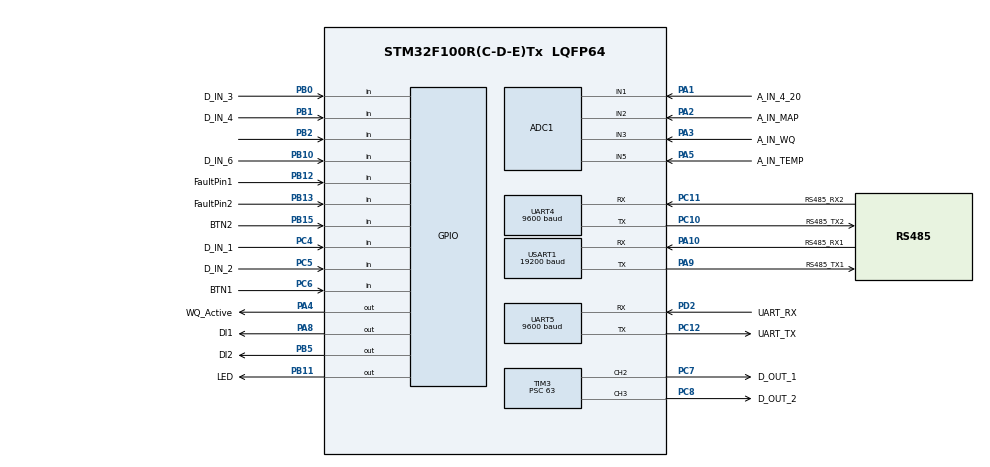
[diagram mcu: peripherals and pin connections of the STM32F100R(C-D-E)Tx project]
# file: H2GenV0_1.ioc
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ADC1.Channel-0\#ChannelRegularConversion=ADC_CHANNEL_1
ADC1.Channel-1\#ChannelRegularConversion=ADC_CHANNEL_2
ADC1.Channel-2\#ChannelRegularConversion=ADC_CHANNEL_3
ADC1.Channel-3\#ChannelRegularConversion=ADC_CHANNEL_5
ADC1.ContinuousConvMode=DISABLE
ADC1.NbrOfConversion=4
ADC1.NbrOfConversionFlag=1
ADC1.Rank-0\#ChannelRegularConversion=1
ADC1.Rank-1\#ChannelRegularConversion=2
ADC1.Rank-2\#ChannelRegularConversion=3
ADC1.Rank-3\#ChannelRegularConversion=4
ADC1.SamplingTime-0\#ChannelRegularConversion=ADC_SAMPLETIME_239CYCLES_5
ADC1.SamplingTime-1\#ChannelRegularConversion=ADC_SAMPLETIME_239CYCLES_5
ADC1.SamplingTime-2\#ChannelRegularConversion=ADC_SAMPLETIME_239CYCLES_5
ADC1.SamplingTime-3\#ChannelRegularConversion=ADC_SAMPLETIME_239CYCLES_5
ADC1.master=1
Dma.ADC1.0.Direction=DMA_PERIPH_TO_MEMORY
Dma.ADC1.0.Instance=DMA1_Channel1
Dma.ADC1.0.MemDataAlignment=DMA_MDATAALIGN_HALFWORD
Dma.ADC1.0.MemInc=DMA_MINC_ENABLE
Dma.ADC1.0.Mode=DMA_NORMAL
Dma.ADC1.0.PeriphDataAlignment=DMA_PDATAALIGN_HALFWORD
Dma.ADC1.0.PeriphInc=DMA_PINC_DISABLE
Dma.ADC1.0.Priority=DMA_PRIORITY_LOW
Dma.Request0=ADC1
Dma.Request1=USART1_RX
Dma.Request2=USART1_TX
Dma.Request3=UART5_RX
Dma.Request4=UART5_TX
Dma.Request5=UART4_RX
Dma.Request6=UART4_TX
Dma.UART4_RX.5.Direction=DMA_PERIPH_TO_MEMORY
Dma.UART4_RX.5.Instance=DMA2_Channel3
Dma.UART4_RX.5.MemDataAlignment=DMA_MDATAALIGN_BYTE
Dma.UART4_RX.5.MemInc=DMA_MINC_ENABLE
Dma.UART4_RX.5.Mode=DMA_NORMAL
Dma.UART4_RX.5.PeriphDataAlignment=DMA_PDATAALIGN_BYTE
Dma.UART4_RX.5.PeriphInc=DMA_PINC_DISABLE
Dma.UART4_RX.5.Priority=DMA_PRIORITY_LOW
Dma.UART4_TX.6.Direction=DMA_MEMORY_TO_PERIPH
Dma.UART4_TX.6.Instance=DMA2_Channel5
Dma.UART4_TX.6.MemDataAlignment=DMA_MDATAALIGN_BYTE
Dma.UART4_TX.6.MemInc=DMA_MINC_ENABLE
Dma.UART4_TX.6.Mode=DMA_NORMAL
Dma.UART4_TX.6.PeriphDataAlignment=DMA_PDATAALIGN_BYTE
Dma.UART4_TX.6.PeriphInc=DMA_PINC_DISABLE
Dma.UART4_TX.6.Priority=DMA_PRIORITY_LOW
Dma.UART5_RX.3.Direction=DMA_PERIPH_TO_MEMORY
Dma.UART5_RX.3.Instance=DMA2_Channel4
Dma.UART5_RX.3.MemDataAlignment=DMA_MDATAALIGN_BYTE
Dma.UART5_RX.3.MemInc=DMA_MINC_ENABLE
Dma.UART5_RX.3.Mode=DMA_NORMAL
Dma.UART5_RX.3.PeriphDataAlignment=DMA_PDATAALIGN_BYTE
Dma.UART5_RX.3.PeriphInc=DMA_PINC_DISABLE
Dma.UART5_RX.3.Priority=DMA_PRIORITY_LOW
Dma.UART5_TX.4.Direction=DMA_MEMORY_TO_PERIPH
Dma.UART5_TX.4.Instance=DMA2_Channel1
Dma.UART5_TX.4.MemDataAlignment=DMA_MDATAALIGN_BYTE
Dma.UART5_TX.4.MemInc=DMA_MINC_ENABLE
Dma.UART5_TX.4.Mode=DMA_NORMAL
Dma.UART5_TX.4.PeriphDataAlignment=DMA_PDATAALIGN_BYTE
Dma.UART5_TX.4.PeriphInc=DMA_PINC_DISABLE
Dma.UART5_TX.4.Priority=DMA_PRIORITY_LOW
Dma.USART1_RX.1.Direction=DMA_PERIPH_TO_MEMORY
Dma.USART1_RX.1.Instance=DMA1_Channel5
Dma.USART1_RX.1.MemDataAlignment=DMA_MDATAALIGN_BYTE
Dma.USART1_RX.1.MemInc=DMA_MINC_ENABLE
Dma.USART1_RX.1.Mode=DMA_NORMAL
Dma.USART1_RX.1.PeriphDataAlignment=DMA_PDATAALIGN_BYTE
Dma.USART1_RX.1.PeriphInc=DMA_PINC_DISABLE
Dma.USART1_RX.1.Priority=DMA_PRIORITY_LOW
Dma.USART1_TX.2.Direction=DMA_MEMORY_TO_PERIPH
Dma.USART1_TX.2.Instance=DMA1_Channel4
Dma.USART1_TX.2.MemDataAlignment=DMA_MDATAALIGN_BYTE
Dma.USART1_TX.2.MemInc=DMA_MINC_ENABLE
Dma.USART1_TX.2.Mode=DMA_NORMAL
Dma.USART1_TX.2.PeriphDataAlignment=DMA_PDATAALIGN_BYTE
Dma.USART1_TX.2.PeriphInc=DMA_PINC_DISABLE
Dma.USART1_TX.2.Priority=DMA_PRIORITY_LOW
FREERTOS.INCLUDE_uxTaskGetStackHighWaterMark=1
FREERTOS.INCLUDE_xTaskGetCurrentTaskHandle=1
FREERTOS.Tasks01=defaultTask,0,128,StartDefaultTask,Default,NULL,Dynamic,NULL,NULL;PowerSupplyTask,2,1800,PowerSupplyFu,Default,NULL,Dynamic,NULL,NULL;SensorsPollTask,-2,128,SensorsPollFu,Default,NULL,Dynamic,NULL,NULL;LedTask,-2,128,LedFU,Default,NULL,Dynamic,NULL,NULL;NextionTask,-2,1200,NextionFu,Default,NULL,Dynamic,NULL,NULL;CompRS485Task,-2,1800,CompRS485Fu,Default,NULL,Dynamic,NULL,NULL;ManagerTask,2,1200,ManagerFu,Default,NULL,Dynamic,NULL,NULL;PumpTask,-2,128,PumpFu,Default,NULL,Dynamic,NULL,NULL;CalcAh,0,128,CalcAhFu,Default,NULL,Dynamic,NULL,NULL
FREERTOS.configCHECK_FOR_STACK_OVERFLOW=1
FREERTOS.configTOTAL_HEAP_SIZE=27729
FREERTOS.configUSE_MALLOC_FAILED_HOOK=0
FREERTOS.configUSE_MUTEXES=0
Mcu.Family=STM32F1
Mcu.Name=STM32F100R(C-D-E)Tx
Mcu.Package=LQFP64
NVIC.DMA1_Channel1_IRQn=true\:0\:0\:false\:false\:true\:true\:false\:true
NVIC.DMA1_Channel4_IRQn=true\:0\:0\:false\:false\:true\:true\:false\:true
NVIC.DMA1_Channel5_IRQn=true\:0\:0\:false\:false\:true\:true\:false\:true
NVIC.DMA2_Channel1_IRQn=true\:0\:0\:false\:false\:true\:true\:false\:true
NVIC.DMA2_Channel3_IRQn=true\:0\:0\:false\:false\:true\:true\:false\:true
NVIC.DMA2_Channel4_5_IRQn=true\:0\:0\:false\:false\:true\:true\:false\:true
NVIC.PriorityGroup=NVIC_PRIORITYGROUP_4
NVIC.TIM1_UP_TIM16_IRQn=true\:0\:0\:false\:false\:true\:false\:false\:true
NVIC.TimeBase=TIM1_UP_TIM16_IRQn
NVIC.TimeBaseIP=TIM1
NVIC.UART4_IRQn=true\:0\:0\:false\:false\:true\:false\:true\:true
NVIC.UART5_IRQn=true\:0\:0\:false\:false\:true\:false\:true\:true
NVIC.USART1_IRQn=true\:0\:0\:false\:false\:true\:false\:true\:true
PA1.GPIO_Label=A_IN_4_20
PA1.Signal=ADCx_IN1
PA10.GPIO_Label=RS485_RX1
PA10.Mode=Asynchronous
PA10.Signal=USART1_RX
PA13.Mode=Serial_Wire
PA13.Signal=SYS_JTMS-SWDIO
PA14.Mode=Serial_Wire
PA14.Signal=SYS_JTCK-SWCLK
PA2.GPIO_Label=A_IN_MAP
PA2.Signal=ADCx_IN2
PA3.GPIO_Label=A_IN_WQ
PA3.Signal=ADCx_IN3
PA4.GPIO_Label=WQ_Active
PA4.Signal=GPIO_Output
PA5.GPIO_Label=A_IN_TEMP
PA5.Signal=ADCx_IN5
PA8.GPIO_Label=DI1
PA8.Signal=GPIO_Output
PA9.GPIO_Label=RS485_TX1
PA9.Mode=Asynchronous
PA9.Signal=USART1_TX
PB0.GPIO_Label=D_IN_3
PB0.GPIO_PuPd=GPIO_PULLUP
PB0.Signal=GPIO_Input
PB1.GPIO_Label=D_IN_4
PB1.GPIO_PuPd=GPIO_NOPULL
PB1.Signal=GPIO_Input
PB10.GPIO_Label=D_IN_6
PB10.GPIO_PuPd=GPIO_PULLUP
PB10.Signal=GPIO_Input
PB11.GPIO_Label=LED
PB11.Signal=GPIO_Output
PB12.GPIO_Label=FaultPin1
PB12.Signal=GPIO_Input
PB13.GPIO_Label=FaultPin2
PB13.Signal=GPIO_Input
PB15.GPIO_Label=BTN2
PB15.Signal=GPIO_Input
PB2.Signal=GPIO_Input
PB5.GPIO_Label=DI2
PB5.Signal=GPIO_Output
PC10.GPIO_Label=RS485_TX2
PC10.Mode=Asynchronous
PC10.Signal=UART4_TX
PC11.GPIO_Label=RS485_RX2
PC11.Mode=Asynchronous
PC11.Signal=UART4_RX
PC12.GPIO_Label=UART_TX
PC12.Mode=Asynchronous
PC12.Signal=UART5_TX
PC4.GPIO_Label=D_IN_1
PC4.GPIO_PuPd=GPIO_PULLUP
PC4.Signal=GPIO_Input
PC5.GPIO_Label=D_IN_2
PC5.GPIO_PuPd=GPIO_PULLUP
PC5.Signal=GPIO_Input
PC6.GPIO_Label=BTN1
PC6.Signal=GPIO_Input
PC7.GPIO_Label=D_OUT_1
PC7.GPIO_Speed=GPIO_SPEED_FREQ_HIGH
PC7.Signal=S_TIM3_CH2
PC8.GPIO_Label=D_OUT_2
PC8.GPIO_Speed=GPIO_SPEED_FREQ_HIGH
PC8.Signal=S_TIM3_CH3
PD0-OSC_IN.Mode=HSE-External-Oscillator
PD0-OSC_IN.Signal=RCC_OSC_IN
PD1-OSC_OUT.Mode=HSE-External-Oscillator
PD1-OSC_OUT.Signal=RCC_OSC_OUT
PD2.GPIO_Label=UART_RX
PD2.Mode=Asynchronous
PD2.Signal=UART5_RX
ProjectManager.HeapSize=0x200
ProjectManager.StackSize=0x400
ProjectManager.TargetToolchain=MDK-ARM V5.27
RCC.APB1Freq_Value=8000000
RCC.APB2Freq_Value=8000000
RCC.HSE_VALUE=16000000
SH.ADCx_IN1.0=ADC1_IN1,IN1
SH.ADCx_IN2.0=ADC1_IN2,IN2
SH.ADCx_IN3.0=ADC1_IN3,IN3
SH.ADCx_IN5.0=ADC1_IN5,IN5
SH.S_TIM3_CH2.0=TIM3_CH2,PWM Generation2 CH2
SH.S_TIM3_CH3.0=TIM3_CH3,PWM Generation3 CH3
TIM3.Channel-PWM\ Generation2\ CH2=TIM_CHANNEL_2
TIM3.Channel-PWM\ Generation3\ CH3=TIM_CHANNEL_3
TIM3.Period=499
TIM3.Prescaler=63
TIM3.Pulse-PWM\ Generation2\ CH2=250
TIM3.Pulse-PWM\ Generation3\ CH3=250
UART4.BaudRate=9600
UART4.VirtualMode=Asynchronous
UART5.BaudRate=9600
UART5.VirtualMode=Asynchronous
USART1.BaudRate=19200
USART1.Parity=PARITY_EVEN
USART1.VirtualMode=VM_ASYNC
USART1.WordLength=WORDLENGTH_9B
VP_FREERTOS_VS_CMSIS_V1.Mode=CMSIS_V1
VP_RTC_VS_RTC_Activate.Mode=RTC_Enabled
VP_SYS_VS_tim1.Mode=TIM1
board=custom

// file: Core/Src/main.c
/* USER CODE BEGIN Header */
/**
  ******************************************************************************
  * @file           : main.c
  * @brief          : Main program body
  ******************************************************************************
  * @attention
  *
  * <h2><center>&copy; Copyright (c) 2021 STMicroelectronics.
  * All rights reserved.</center></h2>
  *
  * This software component is licensed by ST under Ultimate Liberty license
  * SLA0044, the "License"; You may not use this file except in compliance with
  * the License. You may obtain a copy of the License at:
  *                             www.st.com/SLA0044
  *
  ******************************************************************************
  */
/* USER CODE END Header */
#include "main.h"
#include "cmsis_os.h"

/* USER CODE BEGIN Includes */
#include "DataStruct.h"
//#include "LCD_Driver.h"
//#include "PowerSupply.h"
#include "PowerSupplyInterface.h"
#include "PCInterface.h"
#include "GetDependenceValue.h"
#include "manager.h"
#include "Config.h"
#include "eeprom.h"

/* USER CODE END Includes */

ADC_HandleTypeDef hadc1;
DMA_HandleTypeDef hdma_adc1;

RTC_HandleTypeDef hrtc;

TIM_HandleTypeDef htim3;

UART_HandleTypeDef huart4;
UART_HandleTypeDef huart5;
UART_HandleTypeDef huart1;
DMA_HandleTypeDef hdma_uart4_rx;
DMA_HandleTypeDef hdma_uart4_tx;
DMA_HandleTypeDef hdma_uart5_rx;
DMA_HandleTypeDef hdma_uart5_tx;
DMA_HandleTypeDef hdma_usart1_rx;
DMA_HandleTypeDef hdma_usart1_tx;

osThreadId defaultTaskHandle;
osThreadId PowerSupplyTaskHandle;
osThreadId SensorsPollTaskHandle;
osThreadId LedTaskHandle;
osThreadId NextionTaskHandle;
osThreadId CompRS485TaskHandle;
osThreadId ManagerTaskHandle;
osThreadId PumpTaskHandle;
osThreadId CalcAhHandle;
/* USER CODE BEGIN PV */

 struct DataStruct Values;
 enum D_OUT_PINS
		{
			VALVE,
			PUMP
		};

 //extern int16_t WarningTimer ;
 uint8_t ADC_fl = 0; //
// volatile uint16_t ADC_Data[6];

/* USER CODE END PV */

void SystemClock_Config(void);
static void MX_GPIO_Init(void);
static void MX_DMA_Init(void);
static void MX_ADC1_Init(void);
static void MX_UART4_Init(void);
static void MX_UART5_Init(void);
static void MX_USART1_UART_Init(void);
static void MX_TIM3_Init(void);
static void MX_RTC_Init(void);
void StartDefaultTask(void const * argument);
void PowerSupplyFu(void const * argument);
void SensorsPollFu(void const * argument);
void LedFU(void const * argument);
void NextionFu(void const * argument);
void CompRS485Fu(void const * argument);
void ManagerFu(void const * argument);
void PumpFu(void const * argument);
void CalcAhFu(void const * argument);

/* USER CODE BEGIN PFP */
void setPWM(uint16_t pwm_value, enum D_OUT_PINS D_out_Pin);
/* USER CODE END PFP */

/* USER CODE BEGIN 0 */

/*void vApplicationStackOverflowHook(TaskHandle_t xTask, char* pcTaskName)
{
    {
        while (true)
        {
            portNOP();
        }
    }
}*/

void vApplicationMallocFailedHook()
{
    {
        while (true)
        {
            portNOP();
        }
    }
}

void setPWM(uint16_t value, enum D_OUT_PINS D_out_Pin)
{
	//return;
    TIM_OC_InitTypeDef sConfigOC;
		sConfigOC.OCMode = TIM_OCMODE_PWM1;
		sConfigOC.Pulse = value;
		sConfigOC.OCPolarity = TIM_OCPOLARITY_HIGH;
		sConfigOC.OCFastMode = TIM_OCFAST_DISABLE;

		switch (D_out_Pin)
		{
			case PUMP:
				HAL_TIM_PWM_Stop(&htim3, TIM_CHANNEL_3);
				HAL_TIM_PWM_ConfigChannel(&htim3, &sConfigOC, TIM_CHANNEL_3);
				HAL_TIM_PWM_Start(&htim3, TIM_CHANNEL_3);
				break;
			case VALVE:
				HAL_TIM_PWM_Stop(&htim3, TIM_CHANNEL_2);
				HAL_TIM_PWM_ConfigChannel(&htim3, &sConfigOC, TIM_CHANNEL_2);
				HAL_TIM_PWM_Start(&htim3, TIM_CHANNEL_2);
				break;
		}
}

void HAL_ADC_ConvCpltCallback(ADC_HandleTypeDef* hadc)
{
  if (hadc->Instance == ADC1) //check if the interrupt comes from ACD1
  {
		HAL_ADC_Stop_DMA(hadc);
		HAL_GPIO_WritePin(WQ_Active_GPIO_Port, WQ_Active_Pin, GPIO_PIN_RESET);
    ADC_fl=true;
  }
}
/* USER CODE END 0 */

int main(void)
{

  /* MCU Configuration--------------------------------------------------------*/

  /* Reset of all peripherals, Initializes the Flash interface and the Systick. */
  HAL_Init();

  /* Configure the system clock */
  SystemClock_Config();

  /* Initialize all configured peripherals */
  MX_GPIO_Init();
  MX_DMA_Init();
  MX_ADC1_Init();
  MX_UART4_Init();
  MX_UART5_Init();
  MX_USART1_UART_Init();
  MX_TIM3_Init();
  MX_RTC_Init();
  /* USER CODE BEGIN 2 */
	InitUarts();
	InitPowerSupplyInterface();
  /* USER CODE END 2 */

  /* Create the thread(s) */
  /* definition and creation of defaultTask */
  osThreadDef(defaultTask, StartDefaultTask, osPriorityNormal, 0, 128);
  defaultTaskHandle = osThreadCreate(osThread(defaultTask), NULL);

  /* definition and creation of PowerSupplyTask */
  osThreadDef(PowerSupplyTask, PowerSupplyFu, osPriorityHigh, 0, 1800);
  PowerSupplyTaskHandle = osThreadCreate(osThread(PowerSupplyTask), NULL);

  /* definition and creation of SensorsPollTask */
  osThreadDef(SensorsPollTask, SensorsPollFu, osPriorityLow, 0, 128);
  SensorsPollTaskHandle = osThreadCreate(osThread(SensorsPollTask), NULL);

  /* definition and creation of LedTask */
  osThreadDef(LedTask, LedFU, osPriorityLow, 0, 128);
  LedTaskHandle = osThreadCreate(osThread(LedTask), NULL);

  /* definition and creation of NextionTask */
  osThreadDef(NextionTask, NextionFu, osPriorityLow, 0, 1200);
  NextionTaskHandle = osThreadCreate(osThread(NextionTask), NULL);

  /* definition and creation of CompRS485Task */
  osThreadDef(CompRS485Task, CompRS485Fu, osPriorityLow, 0, 1800);
  CompRS485TaskHandle = osThreadCreate(osThread(CompRS485Task), NULL);

  /* definition and creation of ManagerTask */
  osThreadDef(ManagerTask, ManagerFu, osPriorityHigh, 0, 1200);
  ManagerTaskHandle = osThreadCreate(osThread(ManagerTask), NULL);

  /* definition and creation of PumpTask */
  osThreadDef(PumpTask, PumpFu, osPriorityLow, 0, 128);
  PumpTaskHandle = osThreadCreate(osThread(PumpTask), NULL);

  /* definition and creation of CalcAh */
  osThreadDef(CalcAh, CalcAhFu, osPriorityNormal, 0, 128);
  CalcAhHandle = osThreadCreate(osThread(CalcAh), NULL);

  /* USER CODE BEGIN RTOS_THREADS */
//	vTaskSuspend(LCD_TaskHandle);
  /* add threads, ... */
  /* USER CODE END RTOS_THREADS */

  /* Start scheduler */
  osKernelStart();

  /* We should never get here as control is now taken by the scheduler */
  /* Infinite loop */
  while (1)
  {

  }
}

void SystemClock_Config(void)
{
  RCC_OscInitTypeDef RCC_OscInitStruct = {0};
  RCC_ClkInitTypeDef RCC_ClkInitStruct = {0};
  RCC_PeriphCLKInitTypeDef PeriphClkInit = {0};

  /** Initializes the RCC Oscillators according to the specified parameters
  * in the RCC_OscInitTypeDef structure.
  */
  RCC_OscInitStruct.OscillatorType = RCC_OSCILLATORTYPE_HSI|RCC_OSCILLATORTYPE_LSI;
  RCC_OscInitStruct.HSIState = RCC_HSI_ON;
  RCC_OscInitStruct.HSICalibrationValue = RCC_HSICALIBRATION_DEFAULT;
  RCC_OscInitStruct.LSIState = RCC_LSI_ON;
  RCC_OscInitStruct.PLL.PLLState = RCC_PLL_NONE;
  if (HAL_RCC_OscConfig(&RCC_OscInitStruct) != HAL_OK)
  {
    Error_Handler();
  }
  /** Initializes the CPU, AHB and APB buses clocks
  */
  RCC_ClkInitStruct.ClockType = RCC_CLOCKTYPE_HCLK|RCC_CLOCKTYPE_SYSCLK
                              |RCC_CLOCKTYPE_PCLK1|RCC_CLOCKTYPE_PCLK2;
  RCC_ClkInitStruct.SYSCLKSource = RCC_SYSCLKSOURCE_HSI;
  RCC_ClkInitStruct.AHBCLKDivider = RCC_SYSCLK_DIV1;
  RCC_ClkInitStruct.APB1CLKDivider = RCC_HCLK_DIV1;
  RCC_ClkInitStruct.APB2CLKDivider = RCC_HCLK_DIV1;

  if (HAL_RCC_ClockConfig(&RCC_ClkInitStruct, FLASH_LATENCY_0) != HAL_OK)
  {
    Error_Handler();
  }
  PeriphClkInit.PeriphClockSelection = RCC_PERIPHCLK_RTC|RCC_PERIPHCLK_ADC;
  PeriphClkInit.RTCClockSelection = RCC_RTCCLKSOURCE_LSI;
  PeriphClkInit.AdcClockSelection = RCC_ADCPCLK2_DIV2;
  if (HAL_RCCEx_PeriphCLKConfig(&PeriphClkInit) != HAL_OK)
  {
    Error_Handler();
  }
}

static void MX_ADC1_Init(void)
{

  ADC_ChannelConfTypeDef sConfig = {0};

  /** Common config
  */
  hadc1.Instance = ADC1;
  hadc1.Init.ScanConvMode = ADC_SCAN_ENABLE;
  hadc1.Init.ContinuousConvMode = DISABLE;
  hadc1.Init.DiscontinuousConvMode = DISABLE;
  hadc1.Init.ExternalTrigConv = ADC_SOFTWARE_START;
  hadc1.Init.DataAlign = ADC_DATAALIGN_RIGHT;
  hadc1.Init.NbrOfConversion = 4;
  if (HAL_ADC_Init(&hadc1) != HAL_OK)
  {
    Error_Handler();
  }
  /** Configure Regular Channel
  */
  sConfig.Channel = ADC_CHANNEL_1;
  sConfig.Rank = ADC_REGULAR_RANK_1;
  sConfig.SamplingTime = ADC_SAMPLETIME_239CYCLES_5;
  if (HAL_ADC_ConfigChannel(&hadc1, &sConfig) != HAL_OK)
  {
    Error_Handler();
  }
  /** Configure Regular Channel
  */
  sConfig.Channel = ADC_CHANNEL_2;
  sConfig.Rank = ADC_REGULAR_RANK_2;
  if (HAL_ADC_ConfigChannel(&hadc1, &sConfig) != HAL_OK)
  {
    Error_Handler();
  }
  /** Configure Regular Channel
  */
  sConfig.Channel = ADC_CHANNEL_3;
  sConfig.Rank = ADC_REGULAR_RANK_3;
  if (HAL_ADC_ConfigChannel(&hadc1, &sConfig) != HAL_OK)
  {
    Error_Handler();
  }
  /** Configure Regular Channel
  */
  sConfig.Channel = ADC_CHANNEL_5;
  sConfig.Rank = ADC_REGULAR_RANK_4;
  if (HAL_ADC_ConfigChannel(&hadc1, &sConfig) != HAL_OK)
  {
    Error_Handler();
  }

}

static void MX_RTC_Init(void)
{

  /** Initialize RTC Only
  */
  hrtc.Instance = RTC;
  hrtc.Init.AsynchPrediv = RTC_AUTO_1_SECOND;
  hrtc.Init.OutPut = RTC_OUTPUTSOURCE_ALARM;
  if (HAL_RTC_Init(&hrtc) != HAL_OK)
  {
    Error_Handler();
  }

}

static void MX_TIM3_Init(void)
{

  TIM_MasterConfigTypeDef sMasterConfig = {0};
  TIM_OC_InitTypeDef sConfigOC = {0};

  htim3.Instance = TIM3;
  htim3.Init.Prescaler = 63;
  htim3.Init.CounterMode = TIM_COUNTERMODE_UP;
  htim3.Init.Period = 499;
  htim3.Init.ClockDivision = TIM_CLOCKDIVISION_DIV1;
  htim3.Init.AutoReloadPreload = TIM_AUTORELOAD_PRELOAD_DISABLE;
  if (HAL_TIM_PWM_Init(&htim3) != HAL_OK)
  {
    Error_Handler();
  }
  sMasterConfig.MasterOutputTrigger = TIM_TRGO_RESET;
  sMasterConfig.MasterSlaveMode = TIM_MASTERSLAVEMODE_DISABLE;
  if (HAL_TIMEx_MasterConfigSynchronization(&htim3, &sMasterConfig) != HAL_OK)
  {
    Error_Handler();
  }
  sConfigOC.OCMode = TIM_OCMODE_PWM1;
  sConfigOC.Pulse = 250;
  sConfigOC.OCPolarity = TIM_OCPOLARITY_HIGH;
  sConfigOC.OCFastMode = TIM_OCFAST_DISABLE;
  if (HAL_TIM_PWM_ConfigChannel(&htim3, &sConfigOC, TIM_CHANNEL_2) != HAL_OK)
  {
    Error_Handler();
  }
  if (HAL_TIM_PWM_ConfigChannel(&htim3, &sConfigOC, TIM_CHANNEL_3) != HAL_OK)
  {
    Error_Handler();
  }
  HAL_TIM_MspPostInit(&htim3);

}

static void MX_UART4_Init(void)
{

  huart4.Instance = UART4;
  huart4.Init.BaudRate = 9600;
  huart4.Init.WordLength = UART_WORDLENGTH_8B;
  huart4.Init.StopBits = UART_STOPBITS_1;
  huart4.Init.Parity = UART_PARITY_NONE;
  huart4.Init.Mode = UART_MODE_TX_RX;
  huart4.Init.HwFlowCtl = UART_HWCONTROL_NONE;
  huart4.Init.OverSampling = UART_OVERSAMPLING_16;
  if (HAL_UART_Init(&huart4) != HAL_OK)
  {
    Error_Handler();
  }

}

static void MX_UART5_Init(void)
{

  huart5.Instance = UART5;
  huart5.Init.BaudRate = 9600;
  huart5.Init.WordLength = UART_WORDLENGTH_8B;
  huart5.Init.StopBits = UART_STOPBITS_1;
  huart5.Init.Parity = UART_PARITY_NONE;
  huart5.Init.Mode = UART_MODE_TX_RX;
  huart5.Init.HwFlowCtl = UART_HWCONTROL_NONE;
  huart5.Init.OverSampling = UART_OVERSAMPLING_16;
  if (HAL_UART_Init(&huart5) != HAL_OK)
  {
    Error_Handler();
  }

}

static void MX_USART1_UART_Init(void)
{

  huart1.Instance = USART1;
  huart1.Init.BaudRate = 19200;
  huart1.Init.WordLength = UART_WORDLENGTH_9B;
  huart1.Init.StopBits = UART_STOPBITS_1;
  huart1.Init.Parity = UART_PARITY_EVEN;
  huart1.Init.Mode = UART_MODE_TX_RX;
  huart1.Init.HwFlowCtl = UART_HWCONTROL_NONE;
  huart1.Init.OverSampling = UART_OVERSAMPLING_16;
  if (HAL_UART_Init(&huart1) != HAL_OK)
  {
    Error_Handler();
  }

}

static void MX_DMA_Init(void)
{

  /* DMA controller clock enable */
  __HAL_RCC_DMA1_CLK_ENABLE();
  __HAL_RCC_DMA2_CLK_ENABLE();

  /* DMA interrupt init */
  /* DMA1_Channel1_IRQn interrupt configuration */
  HAL_NVIC_SetPriority(DMA1_Channel1_IRQn, 0, 0);
  HAL_NVIC_EnableIRQ(DMA1_Channel1_IRQn);
  /* DMA1_Channel4_IRQn interrupt configuration */
  HAL_NVIC_SetPriority(DMA1_Channel4_IRQn, 0, 0);
  HAL_NVIC_EnableIRQ(DMA1_Channel4_IRQn);
  /* DMA1_Channel5_IRQn interrupt configuration */
  HAL_NVIC_SetPriority(DMA1_Channel5_IRQn, 0, 0);
  HAL_NVIC_EnableIRQ(DMA1_Channel5_IRQn);
  /* DMA2_Channel1_IRQn interrupt configuration */
  HAL_NVIC_SetPriority(DMA2_Channel1_IRQn, 0, 0);
  HAL_NVIC_EnableIRQ(DMA2_Channel1_IRQn);
  /* DMA2_Channel3_IRQn interrupt configuration */
  HAL_NVIC_SetPriority(DMA2_Channel3_IRQn, 0, 0);
  HAL_NVIC_EnableIRQ(DMA2_Channel3_IRQn);
  /* DMA2_Channel4_5_IRQn interrupt configuration */
  HAL_NVIC_SetPriority(DMA2_Channel4_5_IRQn, 0, 0);
  HAL_NVIC_EnableIRQ(DMA2_Channel4_5_IRQn);

}

static void MX_GPIO_Init(void)
{
  GPIO_InitTypeDef GPIO_InitStruct = {0};

  /* GPIO Ports Clock Enable */
  __HAL_RCC_GPIOD_CLK_ENABLE();
  __HAL_RCC_GPIOA_CLK_ENABLE();
  __HAL_RCC_GPIOC_CLK_ENABLE();
  __HAL_RCC_GPIOB_CLK_ENABLE();

  /*Configure GPIO pin Output Level */
  HAL_GPIO_WritePin(GPIOA, WQ_Active_Pin|DI1_Pin, GPIO_PIN_RESET);

  /*Configure GPIO pin Output Level */
  HAL_GPIO_WritePin(GPIOB, LED_Pin|DI2_Pin, GPIO_PIN_RESET);

  /*Configure GPIO pins : WQ_Active_Pin DI1_Pin */
  GPIO_InitStruct.Pin = WQ_Active_Pin|DI1_Pin;
  GPIO_InitStruct.Mode = GPIO_MODE_OUTPUT_PP;
  GPIO_InitStruct.Pull = GPIO_NOPULL;
  GPIO_InitStruct.Speed = GPIO_SPEED_FREQ_LOW;
  HAL_GPIO_Init(GPIOA, &GPIO_InitStruct);

  /*Configure GPIO pins : D_IN_1_Pin D_IN_2_Pin */
  GPIO_InitStruct.Pin = D_IN_1_Pin|D_IN_2_Pin;
  GPIO_InitStruct.Mode = GPIO_MODE_INPUT;
  GPIO_InitStruct.Pull = GPIO_PULLUP;
  HAL_GPIO_Init(GPIOC, &GPIO_InitStruct);

  /*Configure GPIO pins : D_IN_3_Pin D_IN_6_Pin */
  GPIO_InitStruct.Pin = D_IN_3_Pin|D_IN_6_Pin;
  GPIO_InitStruct.Mode = GPIO_MODE_INPUT;
  GPIO_InitStruct.Pull = GPIO_PULLUP;
  HAL_GPIO_Init(GPIOB, &GPIO_InitStruct);

  /*Configure GPIO pins : D_IN_4_Pin PB2 FaultPin1_Pin FaultPin2_Pin
                           BTN2_Pin */
  GPIO_InitStruct.Pin = D_IN_4_Pin|GPIO_PIN_2|FaultPin1_Pin|FaultPin2_Pin
                          |BTN2_Pin;
  GPIO_InitStruct.Mode = GPIO_MODE_INPUT;
  GPIO_InitStruct.Pull = GPIO_NOPULL;
  HAL_GPIO_Init(GPIOB, &GPIO_InitStruct);

  /*Configure GPIO pins : LED_Pin DI2_Pin */
  GPIO_InitStruct.Pin = LED_Pin|DI2_Pin;
  GPIO_InitStruct.Mode = GPIO_MODE_OUTPUT_PP;
  GPIO_InitStruct.Pull = GPIO_NOPULL;
  GPIO_InitStruct.Speed = GPIO_SPEED_FREQ_LOW;
  HAL_GPIO_Init(GPIOB, &GPIO_InitStruct);

  /*Configure GPIO pin : BTN1_Pin */
  GPIO_InitStruct.Pin = BTN1_Pin;
  GPIO_InitStruct.Mode = GPIO_MODE_INPUT;
  GPIO_InitStruct.Pull = GPIO_NOPULL;
  HAL_GPIO_Init(BTN1_GPIO_Port, &GPIO_InitStruct);

}

/* USER CODE BEGIN 4 */

void GeneratorSetActive(bool active)
{
    if (!active)
    {
        if (Values.OnOffButton == BTN_ON)
        {
            EEPROM_Write(PARAM_1, Values.AhCounter);
            EEPROM_Write(PARAM_2, Values.sysCounter);
            Values.OnOffButton = BTN_TRY_TO_STOP;
            Values.NextionSleepMode = NEXTION_TRY_TO_OFF;
        }
    }
		else
		{
			  if (Values.OnOffButton == BTN_OFF)
				{
          Values.OnOffButton = BTN_TRY_TO_START;
          Values.NextionSleepMode = NEXTION_TRY_TO_ON;
        }

		}
}

/* USER CODE END 4 */

void StartDefaultTask(void const *argument) {
  /* USER CODE BEGIN 5 */
  /* Infinite loop */

  for (;;) {
    if (HAL_GPIO_ReadPin(D_IN_6_GPIO_Port, D_IN_6_Pin)) {
      vTaskDelay(100);
      if (HAL_GPIO_ReadPin(D_IN_6_GPIO_Port, D_IN_6_Pin)) {
        if (Values.OnOffButton == BTN_ON) {
          EEPROM_Write(PARAM_1, Values.AhCounter);
          EEPROM_Write(PARAM_2, Values.sysCounter);
          Values.OnOffButton = BTN_TRY_TO_STOP;
          Values.NextionSleepMode = NEXTION_TRY_TO_OFF;
        }
        if (Values.OnOffButton == BTN_OFF) {
          Values.OnOffButton = BTN_TRY_TO_START;
          Values.NextionSleepMode = NEXTION_TRY_TO_ON;
        }
      }
      vTaskDelay(1000);
      if (HAL_GPIO_ReadPin(D_IN_6_GPIO_Port, D_IN_6_Pin)) {
        // long click
      }
    }
    vTaskDelay(100);
  }
  /* USER CODE END 5 */
}

void PowerSupplyFu(void const * argument)
{
  /* USER CODE BEGIN PowerSupplyFu */
  /* Infinite loop */

  for(;;)
  {
		PollPowerSupply(&Values);
    vTaskDelay(100);
  }
  /* USER CODE END PowerSupplyFu */
}

void SensorsPollFu(void const* argument) {
  /* USER CODE BEGIN SensorsPollFu */
  /* Infinite loop */

  HAL_ADCEx_Calibration_Start(&hadc1);
  HAL_ADC_Start_DMA(&hadc1, (uint32_t*)&Values.A_IN_1_RAW, 4);
  /* Infinite loop */
  for (;;) {
    if (ADC_fl) {
      Values.Press = (((float)(Values.A_IN_2_RAW)) - 143) / 658;
      Values.Temperature = GetDependenceValue(
          Values.A_IN_4_RAW, TempDependence,
          sizeof(TempDependence) / sizeof(TempDependence[0]));
      Values.WQ =
          (GetDependenceValue(Values.A_IN_3_RAW, WQ_20,
                              sizeof(WQ_20) / sizeof(WQ_20[0]))) *
          GetDependenceValueF(Values.Temperature, TempCorrectionDependence,
                              sizeof(TempCorrectionDependence) /
                                  sizeof(TempCorrectionDependence[0]));

      ADC_fl = 0;
      HAL_GPIO_WritePin(WQ_Active_GPIO_Port, WQ_Active_Pin, GPIO_PIN_SET);
      vTaskDelay(50);
      HAL_ADC_Start_DMA(&hadc1, (uint32_t*)&Values.A_IN_1_RAW, 4);
      Values.D_IN_1 = HAL_GPIO_ReadPin(D_IN_1_GPIO_Port, D_IN_1_Pin);
      Values.D_IN_2 = HAL_GPIO_ReadPin(D_IN_2_GPIO_Port, D_IN_2_Pin);
      Values.D_IN_3 = HAL_GPIO_ReadPin(D_IN_3_GPIO_Port, D_IN_3_Pin);
      Values.D_IN_4 = HAL_GPIO_ReadPin(D_IN_4_GPIO_Port, D_IN_4_Pin);
      // Values.D_IN_5 = HAL_GPIO_ReadPin(D_IN_5_GPIO_Port, D_IN_3_Pin);
      // Values.D_IN_6 = HAL_GPIO_ReadPin(D_IN_6_GPIO_Port, D_IN_6_Pin);
      vTaskDelay(100);
    }
  }
  /* USER CODE END SensorsPollFu */
}

void LedFU(void const * argument)
{
  /* USER CODE BEGIN LedFU */
  /* Infinite loop */
    for( ;; )
    {
			switch (Values.LedMode)
			{
				case LED_NORMAL_BLINK:
				HAL_GPIO_TogglePin(LED_GPIO_Port, LED_Pin);
				for (int i = 0; i < 8; i++)
				if (Values.LedMode != LED_NORMAL_BLINK) break; else vTaskDelay(50);
				break;
				case LED_FAST_BLINK:
				HAL_GPIO_WritePin(LED_GPIO_Port, LED_Pin,GPIO_PIN_SET);
				for (int i = 0; i < 10; i++)
				{
					vTaskDelay(50);
					HAL_GPIO_TogglePin(LED_GPIO_Port, LED_Pin);
				}
				Values.LedMode = LED_NORMAL_BLINK;
				break;
				case LED_VERY_FAST_BLINK:
				HAL_GPIO_WritePin(LED_GPIO_Port, LED_Pin,GPIO_PIN_SET);
				for (int i = 0; i < 12; i++)
				{
					vTaskDelay(100);
					HAL_GPIO_TogglePin(LED_GPIO_Port, LED_Pin);
				}
				Values.LedMode = LED_NORMAL_BLINK;
				break;
			}

     }
  /* USER CODE END LedFU */
}

void NextionFu(void const * argument)
{
  /* USER CODE BEGIN NextionFu */
  /* Infinite loop */
	vTaskDelay(800);
	char StrNextion[80]={0xFF};
  sprintf(StrNextion, "MaxSetpoint=%d", MAX_FLOW*10);
  //sprintf(StrNextion, "page 0");
	SendToNextion(StrNextion);
	vTaskDelay(50);
  sprintf(StrNextion, "page 0");
	SendToNextion(StrNextion);
	vTaskDelay(50);
  sprintf(StrNextion, "sleep=1");
  //sprintf(StrNextion, "page 0");
	SendToNextion(StrNextion);
	vTaskDelay(50);

  for(;;)
  {
		NextionPoll(&Values);
    vTaskDelay(1000);
  }
	while(1){};
  /* USER CODE END NextionFu */
}

void CompRS485Fu(void const * argument)
{
  /* USER CODE BEGIN CompRS485Fu */
  /* Infinite loop */
  for(;;)
  {
			if (PC_BuffLen)
				{
					GrabMSG((uint8_t*)PC_Buff, PC_BuffLen, &Values);
					PC_BuffLen = 0;
				}

		//SendToPC(&Values);
    //vTaskDelay(1000);
  }
  /* USER CODE END CompRS485Fu */
}

void ManagerFu(void const * argument)
{
  /* USER CODE BEGIN ManagerFu */
  /* Infinite loop */
	vTaskDelay(1000);
  for(;;)
  {
		ManagerPoll(&Values);
		vTaskDelay(100);
  }
  /* USER CODE END ManagerFu */
}

void PumpFu(void const * argument)
{
  /* USER CODE BEGIN PumpFu */

//	/*
	setPWM(250, PUMP);
	vTaskDelay(4000);
	setPWM(400, PUMP);
	vTaskDelay(4000);
 //*/

/*	for(;;)
	{
				setPWM(250, VALVE);
				vTaskDelay(TIME_TO_POUR);
				setPWM(0, VALVE);
				vTaskDelay(TIME_TO_POUR);
	}
	*/

  /* Infinite loop */
  for(;;)
  {
		//continue;
/*		if (Values.D_IN_1 == 1) //Hydrogen water level is high
			if ((Values.Press > MIN_PRESS_TO_POUR) && (Values.Mode == MODE_NORMAL_WORK))
			{
				setPWM(250, VALVE);
				vTaskDelay(TIME_TO_POUR);
				setPWM(0, VALVE);

			} */
		if (Values.Pump == PUMP_ON)
			{
				//Config Pump

				//setPWM(200, PUMP);
				//vTaskDelay(10);
				setPWM(PUMP_PWM, PUMP);
				vTaskDelay(TIME_PUMP_ON);
				//setPWM(0, PUMP);
				//vTaskDelay(TIME_PUMP_OFF);
			}
			else
			{
				setPWM(0, PUMP);
				//HAL_GPIO_TogglePin(D_OUT_1_GPIO_Port, D_OUT_1_Pin);
				vTaskDelay(1000);
			}
  }
  /* USER CODE END PumpFu */
}

void CalcAhFu(void const * argument)
{
  /* USER CODE BEGIN CalcAhFu */
	EEPROM_Init();
	Values.AhCounter = 0;
	Values.sysCounter = 0;

//  EEPROM_Write(PARAM_1, 0x0);
//  EEPROM_Write(PARAM_2, 0x0);

  EEPROM_Read(PARAM_1, &Values.AhCounter);
  EEPROM_Read(PARAM_2, &Values.sysCounter);

  //EEPROM_Write(PARAM_2, 0x3333);

  /* Infinite loop */
  for(;;)
  {
		for (uint16_t index = 0; index < 3600 ;index++)
		{
			if ((Values.Mode == 		MODE_LEAK_CHECK1) || (Values.Mode == MODE_LEAK_CHECK2) || (Values.Mode == MODE_NORMAL_WORK))
			{
				Values.AhCounter += Values.Amperage/10;
				Values.sysCounter++;
			}
			//if (WarningTimer > 0) { WarningTimer--; }
			osDelay(1000);
		}
		//сохраняем во флеш
		EEPROM_Write(PARAM_1, Values.AhCounter);
		EEPROM_Write(PARAM_2, Values.sysCounter);

  }
  /* USER CODE END CalcAhFu */
}

void HAL_TIM_PeriodElapsedCallback(TIM_HandleTypeDef *htim)
{
  if (htim->Instance == TIM1) {
    HAL_IncTick();
  }
}

void Error_Handler(void)
{
}

/************************ (C) COPYRIGHT STMicroelectronics *****END OF FILE****/
